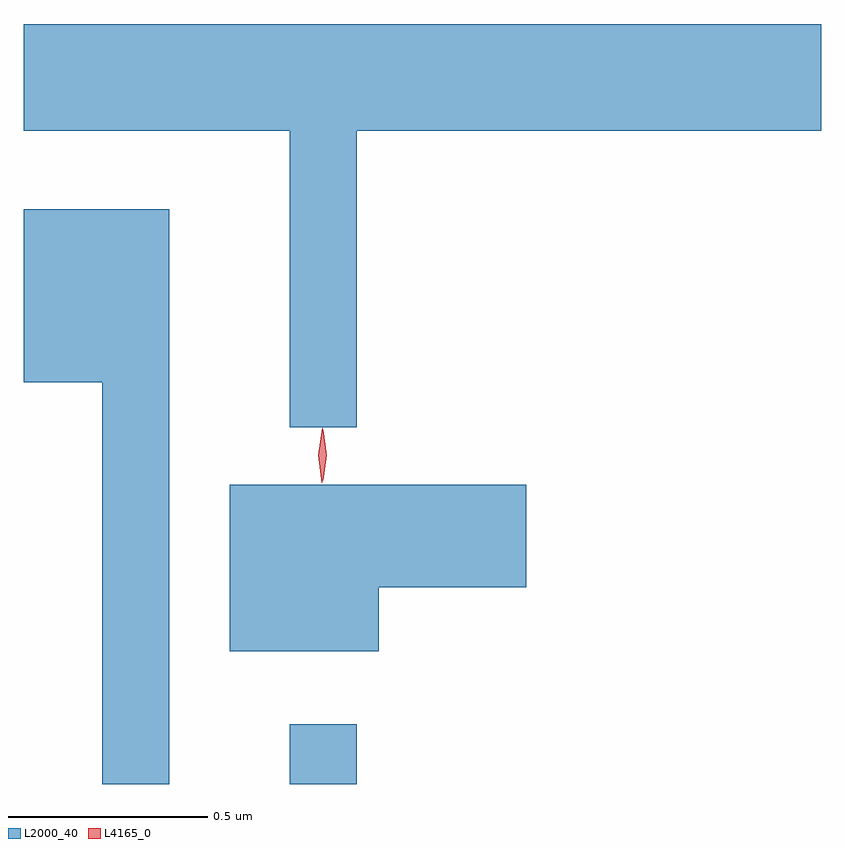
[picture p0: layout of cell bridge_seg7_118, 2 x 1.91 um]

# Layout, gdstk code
import gdstk
lib = gdstk.Library(unit=1e-6, precision=1e-09)
def R(c, l, rs):  # rectangles x0, y0, x1, y1
    for r in rs: c.add(gdstk.rectangle(r[:2], r[2:], *l))
def P(c, l, *ps):  # polygons
    for p in ps: c.add(gdstk.Polygon(p, *l))
L2000_40 = (2000, 40)
L4165_0 = (4165, 0)

bridge_seg7_118 = lib.new_cell('bridge_seg7_118')
R(bridge_seg7_118, L2000_40, [(1589.081,1748.198,1589.249,1748.348)])
P(bridge_seg7_118, L2000_40, [(1589.249,1749.836),(1590.414,1749.836),(1590.414,1750.104),(1588.414,1750.104),(1588.414,1749.836),(1589.081,1749.836),(1589.081,1749.093),(1589.249,1749.093)],
  [(1588.779,1749.639),(1588.414,1749.639),(1588.414,1749.206),(1588.611,1749.206),(1588.611,1748.198),(1588.779,1748.198)],
  [(1589.304,1748.691),(1589.674,1748.691),(1589.674,1748.949),(1588.931,1748.949),(1588.931,1748.531),(1589.304,1748.531)])
P(bridge_seg7_118, L4165_0, [(1589.164,1748.96),(1589.164,1748.96),(1589.154,1749.023),(1589.164,1749.086),(1589.164,1749.087),(1589.165,1749.086),(1589.174,1749.023),(1589.165,1748.96)],
  [(1589.161,1748.954),(1589.153,1749.022),(1589.163,1749.09),(1589.164,1749.09),(1589.164,1749.09),(1589.172,1749.022),(1589.162,1748.954),(1589.162,1748.954)])

lib.write_gds('bridge_seg7_118.gds')
